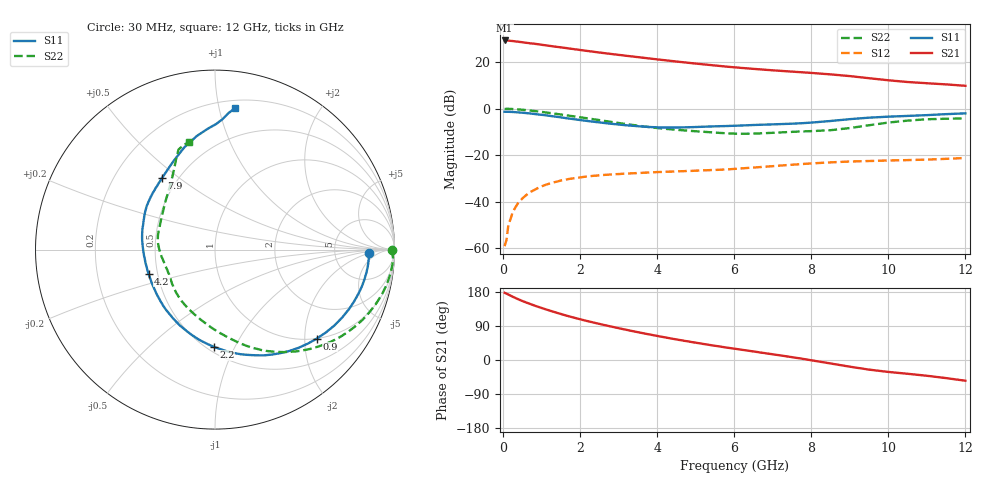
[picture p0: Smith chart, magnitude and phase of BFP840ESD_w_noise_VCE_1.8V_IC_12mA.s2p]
! Infineon Technologies  Discrete & RF Semiconductors
! BFP840ESD
! VCE =  1.8 V,  IC =  12 mA
! Common Emitter S-Parameters:  May 2012
# GHz  S  MA  R  50
!  f  S11  S21  S12  S22
! GHz  MAG  ANG  MAG  ANG  MAG  ANG  MAG  ANG
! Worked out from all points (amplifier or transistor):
!   93 points, 30 MHz to 12 GHz, reference 50 ohm
!   highest |S21| = 29.4 dB at 30 MHz (marker M1)
!   |S21| within 3 dB of that: start of sweep to 1.5 GHz
!   unconditionally stable (mu >= 1): 5.37 GHz to 8.952 GHz
!   at 1.1 GHz: K = 0.31, MSG = 30.0 dB, |S12| = -32.7 dB
!   at 4.2 GHz: K = 0.85, MSG = 24.0 dB, |S12| = -27.2 dB
!   at 12 GHz: K = 0.72, MSG = 15.5 dB, |S12| = -21.2 dB
!   lowest NFmin = 0.89 dB at 450 MHz
!   S11 on the Smith chart (normalised r, x): 30 MHz: 13, -2; 900 MHz: 1.00, -2.29; 2.2 GHz: 0.54, -0.83; 4.2 GHz: 0.45, -0.14; 7.9 GHz: 0.41, +0.43; 12 GHz: 0.26, +1.11
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0.03  0.8594 -1.3  29.39 177.4  0.0011 78.7  0.984 -0.1
0.23  0.8491 -11.2  28.58 167.6  0.0056 82.2  0.9839 -8.8
0.43  0.8268 -20.5  27.29 158.3  0.0103 75.6  0.9579 -16.1
0.6  0.8032 -28.2  26.14 151.4  0.014 71.9  0.929 -22.0
0.9  0.7532 -41.2  24.34 140.4  0.0197 63.9  0.8721 -31.6
1.2  0.7015 -53.5  22.48 130.4  0.0245 57.0  0.8104 -40.4
1.5  0.6492 -65.2  20.81 121.2  0.0286 51.4  0.7481 -48.5
1.7  0.614 -72.8  19.8 115.3  0.0307 47.7  0.7082 -53.5
2.1  0.5542 -87.2  17.85 104.7  0.0342 42.1  0.6344 -62.9
2.2  0.5418 -90.7  17.4 102.2  0.0349 40.8  0.6174 -65.1
2.6  0.4943 -104.7  15.76 92.7  0.0375 36.6  0.5501 -73.7
3.1  0.4469 -122.1  14.06 81.6  0.0398 32.1  0.4778 -84.3
3.6  0.4131 -139.4  12.56 71.2  0.0416 29.2  0.42 -96.0
4.1  0.3949 -156.8  11.25 61.5  0.0435 26.8  0.376 -108.5
4.2  0.3938 -160.1  11.02 59.6  0.0438 26.4  0.3689 -111.0
5.1  0.4062 174.8  9.163 43.9  0.0467 23.3  0.3225 -132.3
6.1  0.432 156.4  7.642 28.4  0.0512 22.6  0.2902 -154.5
7.9  0.4965 126.6  5.963 0.9  0.0656 15.0  0.3273 166.4
8.5  0.5438 115.3  5.474 -9.2  0.07 11.0  0.3443 150.7
9.5  0.6411 99.1  4.524 -25.4  0.0748 3.3  0.4404 124.2
10.5  0.6987 89.6  3.751 -36.4  0.0783 -2.7  0.5537 112.9
12  0.7939 82.1  3.108 -54.7  0.087 -9.7  0.6166 103.7
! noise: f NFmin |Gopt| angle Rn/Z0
0.45  0.89  0.22  1  0.14
0.9  0.89  0.22  4  0.14
1.5  0.9  0.22  9  0.13
1.9  0.91  0.2  13  0.12
2.4  0.91  0.17  23  0.12
3.5  0.93  0.1  61  0.1
5.5  0.99  0.07  168  0.1
8  1.11  0.3  -121  0.11
10  1.24  0.48  -85  0.2
12  1.46  0.61  -69  0.29
